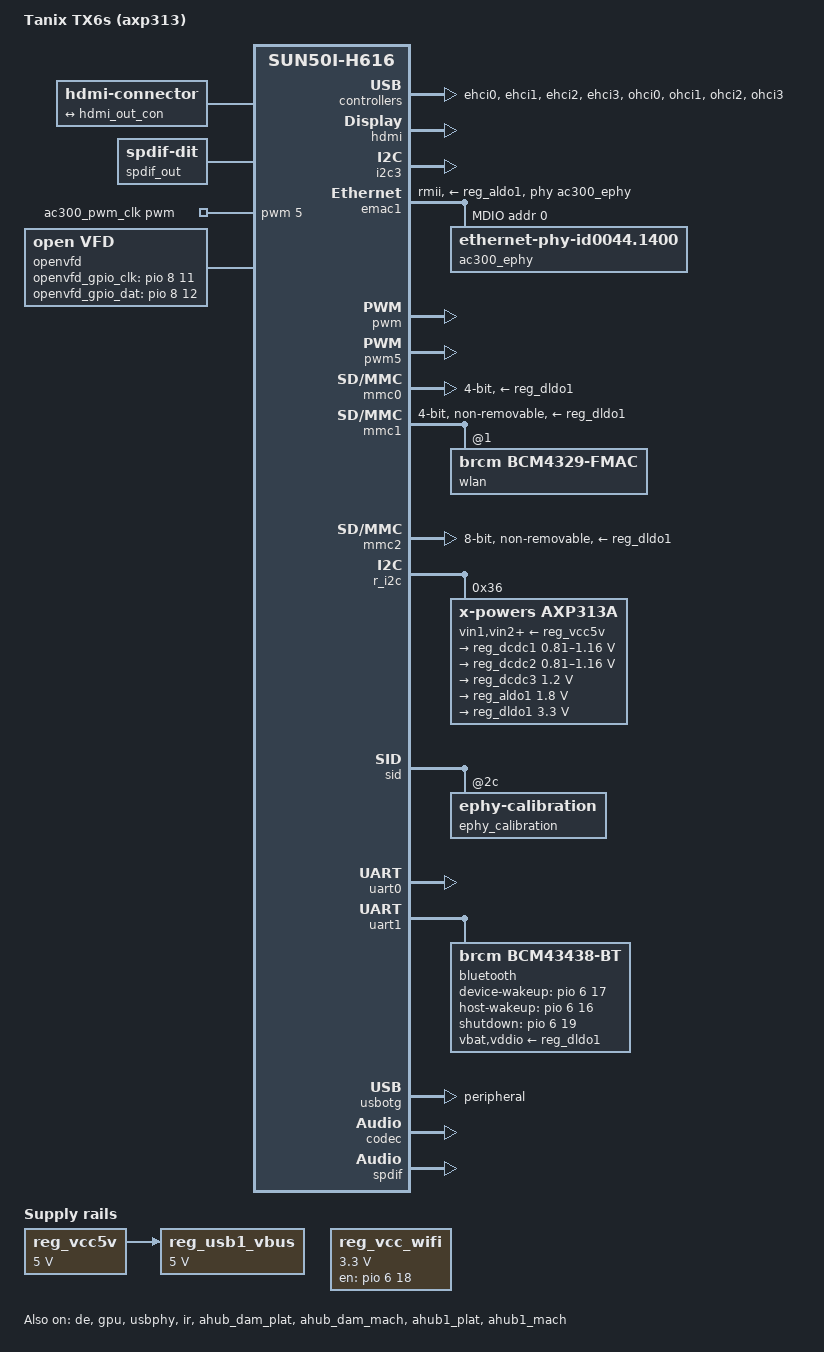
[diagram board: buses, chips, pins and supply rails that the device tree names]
// SPDX-License-Identifier: (GPL-2.0+ or MIT)
/*
 * Author: piotr.oniszczuk@gmail.com
 */

/dts-v1/;

#include "sun50i-h616.dtsi"
#include "sun50i-h616-cpu-opp.dtsi"
#include <dt-bindings/gpio/gpio.h>
#include <dt-bindings/interrupt-controller/arm-gic.h>
#include <dt-bindings/leds/common.h>

/ {
	model = "Tanix TX6s (axp313)";
	compatible = "tanix,tx6s-axp313", "tanix,tx6s", "allwinner,sun50i-h616";

	aliases {
		mmc0 = &mmc0;
		mmc2 = &mmc2;
		ethernet0 = &emac1;
		ethernet1 = &wlan;
		serial0 = &uart0;
	};

	chosen {
		stdout-path = "serial0:115200n8";
	};

	connector {
		compatible = "hdmi-connector";
		type = "d";

		port {
			hdmi_con_in: endpoint {
				remote-endpoint = <&hdmi_out_con>;
			};
		};
	};

	reg_vcc5v: vcc5v {
		/* board wide 5V supply directly from the USB-C socket */
		compatible = "regulator-fixed";
		regulator-name = "vcc-5v";
		regulator-min-microvolt = <5000000>;
		regulator-max-microvolt = <5000000>;
		regulator-always-on;
	};

	reg_usb1_vbus: usb1-vbus {
		compatible = "regulator-fixed";
		regulator-name = "usb1-vbus";
		regulator-min-microvolt = <5000000>;
		regulator-max-microvolt = <5000000>;
		vin-supply = <&reg_vcc5v>;
		enable-active-high;
		/* gpio = <&pio 2 16 GPIO_ACTIVE_HIGH>; PC16 */
		status = "okay";
	};

	reg_vcc_wifi: reg_vcc_wifi {
		compatible = "regulator-fixed";
		regulator-name = "vcc-wifi";
		regulator-min-microvolt = <3300000>;
		regulator-max-microvolt = <3300000>;
		gpio = <&pio 6 18 GPIO_ACTIVE_HIGH>; /* PG18 WL_REG_ON */
		regulator-always-on;
		enable-active-high;
		startup-delay-us = <200000>;
		status = "okay";
	};

	wifi_pwrseq: wifi_pwrseq {
		compatible = "mmc-pwrseq-simple";
		clocks = <&rtc CLK_OSC32K_FANOUT>;
		clock-names = "ext_clock";
		pinctrl-names = "default";
		pinctrl-0 = <&x32clk_fanout_pin>; /* PG10 with MUX3 set */
	};

	sound-spdif {
		compatible = "simple-audio-card";
		simple-audio-card,name = "SPDIF";

		simple-audio-card,cpu {
			sound-dai = <&spdif>;
		};

		simple-audio-card,codec {
			sound-dai = <&spdif_out>;
		};
	};

	spdif_out: spdif-out {
		#sound-dai-cells = <0>;
		compatible = "linux,spdif-dit";
	};

	ac300_pwm_clk: ac300-clk {
		compatible = "pwm-clock";
		#clock-cells = <0>;
		/* 500ns period -> 2MHz */
		pwms = <&pwm 5 500 0>;
		clock-frequency = <2000000>;
		status = "okay";
	};

	openvfd {
		compatible = "open,vfd";
		dev_name = "openvfd";
		openvfd_gpio_clk = <&pio 8 11 (GPIO_ACTIVE_HIGH|GPIO_OPEN_DRAIN)>;
		openvfd_gpio_dat = <&pio 8 12 (GPIO_ACTIVE_HIGH|GPIO_OPEN_DRAIN)>;
		vfd_gpio_chip_name = "0300b000.pinctrl";
		openvfd_chars = [02 04 03 02 01];
		openvfd_dot_bits = [00 01 03 02 04 05 06];
		openvfd_display_type = <0x03000001>;
		status = "okay";
	};
};

&cpu0 {
	cpu-supply = <&reg_dcdc2>;
	status = "okay";
};

&de {
	status = "okay";
};

&ehci0 {
	status = "okay";
};

&ehci1 {
	status = "okay";
};

&ehci2 {
	status = "okay";
};

&ehci3 {
	status = "okay";
};

&hdmi {
	hvcc-supply = <&reg_aldo1>;
	status = "okay";
};

&hdmi_out {
	hdmi_out_con: endpoint {
		remote-endpoint = <&hdmi_con_in>;
	};
};

&gpu {
	mali-supply = <&reg_dcdc1>;
	status = "okay";
};

&i2c3 {
	status = "okay";
};

&emac1 {
	compatible = "allwinner,sun50i-h616-internal-emac";
	pinctrl-names = "default";
	pinctrl-0 = <&rmii_pins>;
	phy-mode = "rmii";
	phy-handle = <&ac300_ephy>;
	phy-supply = <&reg_aldo1>;
	allwinner,rx-delay-ps = <3100>;
	allwinner,tx-delay-ps = <700>;
	status = "okay";

	mdio-mux {
		compatible = "allwinner,sun8i-h3-mdio-mux";
		#address-cells = <1>;
		#size-cells = <0>;
		mdio-parent-bus = <&mdio1>;

		internal_mdio: mdio@1 {
			compatible = "allwinner,sun8i-h3-mdio-internal";
			reg = <1>;
			#address-cells = <1>;
			#size-cells = <0>;

			ac300_ephy: ethernet-phy@0 {
				compatible = "ethernet-phy-id0044.1400",
					     "allwinner,sun50i-h618-ac300-ephy",
					     "ethernet-phy-ieee802.3-c22";
				reg = <0>;
				clocks = <&ccu CLK_EMAC_25M>, <&ac300_pwm_clk>;
				clock-names = "ephy", "pwm";
				nvmem-cells = <&ephy_calibration>;
				nvmem-cell-names = "calibration";
				status = "okay";
			};
		};
	};
};

&mdio1 {
	compatible = "snps,dwmac-mdio";
};

&pwm {
	status = "okay";
};

&pwm5 {
	pinctrl-names = "default";
	pinctrl-0 = <&pwm5_pin>;
	clk_bypass_output = <0x1>;
	status = "okay";
};

&mmc0 {
	vmmc-supply = <&reg_dldo1>;
	broken-cd;
	bus-width = <4>;
	status = "okay";
};

&mmc1 {
	vmmc-supply = <&reg_dldo1>;
	vqmmc-supply = <&reg_vcc_wifi>;
	mmc-pwrseq = <&wifi_pwrseq>;
	bus-width = <4>;
	non-removable;
	status = "okay";

	wlan: wifi@1 {
		reg = <1>;
		compatible = "brcm,bcm4329-fmac";
	};
};

&mmc2 {
	vmmc-supply = <&reg_dldo1>;
	bus-width = <8>;
	non-removable;
	cap-mmc-hw-reset;
	status = "okay";
};

&ohci0 {
	status = "okay";
};

&ohci1 {
	status = "okay";
};

&ohci2 {
	status = "okay";
};

&ohci3 {
	status = "okay";
};

&r_i2c {
	status = "okay";

	axp313a: pmic@36 {
		compatible = "x-powers,axp313a";
		reg = <0x36>;
		wakeup-source;
		vin1-supply = <&reg_vcc5v>;
		vin2-supply = <&reg_vcc5v>;
		vin3-supply = <&reg_vcc5v>;

		regulators {
			reg_dcdc1: dcdc1 {
				regulator-always-on;
				regulator-min-microvolt = <810000>;
				regulator-max-microvolt = <1160000>;
				regulator-name = "vdd-gpu";
			};

			reg_dcdc2: dcdc2 {
				regulator-always-on;
				regulator-min-microvolt = <810000>;
				regulator-max-microvolt = <1160000>;
				regulator-name = "vdd-cpu";
			};

			reg_dcdc3: dcdc3 {
				regulator-always-on;
				regulator-min-microvolt = <1200000>;
				regulator-max-microvolt = <1200000>;
				regulator-name = "vdd-dram";
			};

			reg_aldo1: aldo1 {
				regulator-always-on;
				regulator-min-microvolt = <1800000>;
				regulator-max-microvolt = <1800000>;
				regulator-name = "vcc1v8";
			};

			reg_dldo1: dldo1 {
				regulator-always-on;
				regulator-min-microvolt = <3300000>;
				regulator-max-microvolt = <3300000>;
				regulator-name = "vcc3v3";
			};
		};
	};
};

&sid {
	ephy_calibration: ephy-calibration@2c {
		reg = <0x2c 0x2>;
	};
};

&uart0 {
	pinctrl-names = "default";
	pinctrl-0 = <&uart0_ph_pins>;
	status = "okay";
};

&uart1 {
	pinctrl-names = "default";
	pinctrl-0 = <&uart1_pins>, <&uart1_rts_cts_pins>;
	uart-has-rtscts;
	status = "okay";

	bluetooth {
		compatible = "brcm,bcm43438-bt";
		clocks = <&rtc 1>;
		clock-names = "lpo";
		vbat-supply = <&reg_dldo1>;
		vddio-supply = <&reg_dldo1>;
               device-wakeup-gpios = <&pio 6 17 GPIO_ACTIVE_HIGH>; /* PG17 */
               host-wakeup-gpios = <&pio 6 16 GPIO_ACTIVE_HIGH>; /* PG16 */
               shutdown-gpios = <&pio 6 19 GPIO_ACTIVE_HIGH>; /* PG19 */
	};
};

&usbotg {
	dr_mode = "peripheral";
	status = "okay";
};

&usbphy {
	usb1_vbus-supply = <&reg_usb1_vbus>;
	status = "okay";
};

&ir {
	linux,rc-map-name = "rc-beelink-gs1";
	status = "okay";
};

&codec {
	allwinner,audio-routing =
	        "Line Out", "LINEOUT";
	status = "okay";
};

&ahub_dam_plat {
	status = "okay";
};

&ahub_dam_mach {
	status = "okay";
};

&ahub1_plat {
	status = "okay";
};

&ahub1_mach {
	status = "okay";
};

&spdif {
	status = "okay";
};

